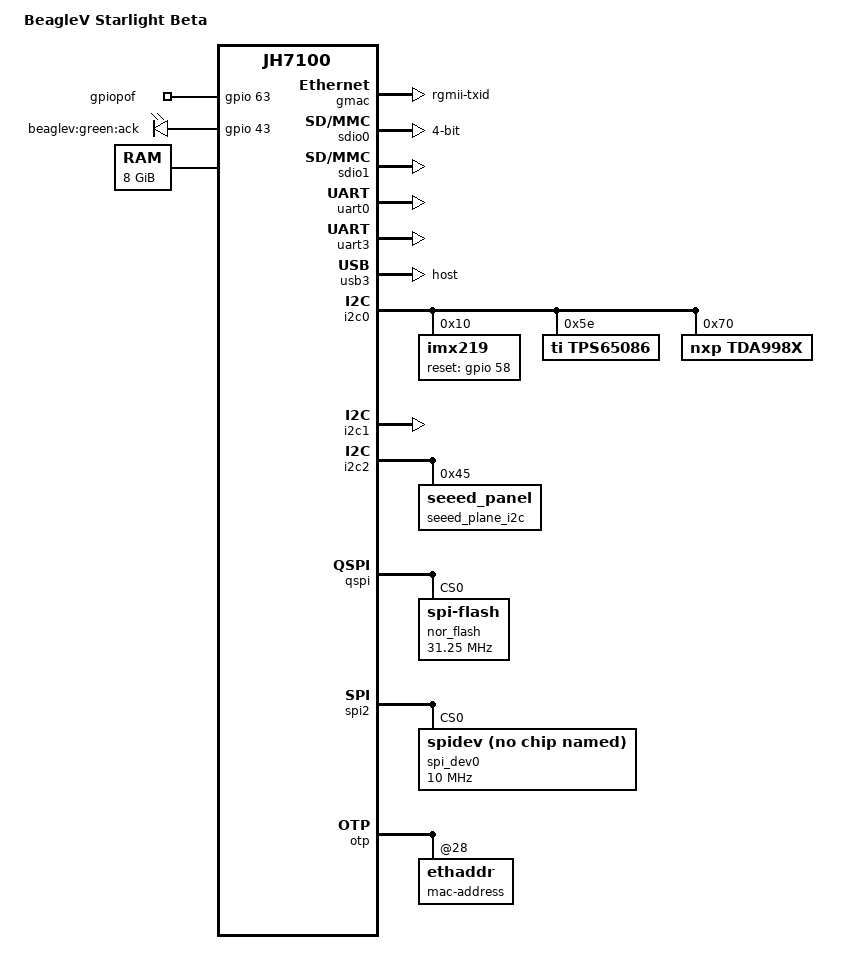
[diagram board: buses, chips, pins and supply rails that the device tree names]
// SPDX-License-Identifier: GPL-2.0

#include "jh7100.dtsi"
#include <dt-bindings/gpio/gpio.h>

/ {
	#address-cells = <2>;
	#size-cells = <2>;
	compatible = "beagle,beaglev-starlight-jh7100", "starfive,jh7100";
	model = "BeagleV Starlight Beta";
	barebox,disable-deep-probe;

	aliases {
		serial0 = &uart3;
		serial1 = &uart0;
	};

	chosen {
		stdout-path = "serial0:115200";
	};

	cpus {
		timebase-frequency = <6250000>;
	};

	gpiopof: gpio-poweroff {
		compatible = "gpio-poweroff";
		gpios = <&gpio 63 GPIO_ACTIVE_HIGH>;
	};

	leds {
		compatible = "gpio-leds";

		led-0 {
			label = "beaglev:green:ack";
			gpios = <&gpio 43 GPIO_ACTIVE_HIGH>;
		};
	};

	memory@80000000 {
		device_type = "memory";
		reg = <0x0 0x80000000 0x2 0x0>;
	};

	memory@3000000000 {
		device_type = "memory";
		reg = <0x30 0x0 0x0 0x0>;
	};
};

&gmac {
	pinctrl-names = "default";
	pinctrl-0 = <&pinctrl_rgmii>;
	phy-mode = "rgmii-txid";
	nvmem-cell-names = "mac-address";
	nvmem-cells = <&ethaddr>;
};

&gpio {
	pinctrl-names = "default";
	pinctrl-0 = <&pinctrl_gpio>;
};

&sdio0 {
	pinctrl-names = "default";
	pinctrl-0 = <&pinctrl_sdio0>;
	bus-width = <4>;
	cap-sd-highspeed;
	broken-cd;
	no-sdio;
	status = "okay";
};

&sdio1 {
	pinctrl-names = "default";
	pinctrl-0 = <&pinctrl_sdio1>;
	status = "okay";
};

&uart0 {
	pinctrl-names = "default";
	pinctrl-0 = <&pinctrl_uart0>;
	status = "okay";
};

&uart3 {
	status = "okay";
};

&usb3 {
	dr_mode = "host";
	status = "okay";
};

&i2c0 {
	pinctrl-names = "default";
	pinctrl-0 = <&pinctrl_i2c0>;
	status = "okay";

	imx219@10 {
		compatible = "imx219";
		reg = <0x10>;
		reset-gpio = <&gpio 58 0>;
	};

	tps65086@5e {
		compatible = "ti,tps65086";
		reg = <0x5e>;
		gpio-controller;
		#gpio-cells = <2>;
	};

	tda998x@70 {
		compatible = "nxp,tda998x";
		reg = <0x70>;
	};
};

&i2c1 {
	pinctrl-names = "default";
	pinctrl-0 = <&pinctrl_i2c1>;
	status = "okay";
};

&i2c2 {
	pinctrl-names = "default";
	pinctrl-0 = <&pinctrl_i2c2>;
	status = "okay";

	seeed_plane_i2c@45 {
		compatible = "seeed_panel";
		reg = <0x45>;
	};
};

&qspi {
	nor_flash: nor-flash@0 {
		compatible = "spi-flash";
		reg = <0>;
		spi-max-frequency = <31250000>;
		cdns,page-size = <256>;
		cdns,block-size = <16>;
		cdns,read-delay = <4>;
		cdns,tshsl-ns = <1>;
		cdns,tsd2d-ns = <1>;
		cdns,tchsh-ns = <1>;
		cdns,tslch-ns = <1>;
		spi-tx-bus-width = <1>;
		spi-rx-bus-width = <1>;
	};
};

&spi2 {
	pinctrl-names = "default";
	pinctrl-0 = <&pinctrl_spi2>;
	status = "okay";

	spi_dev0: spi@0 {
		compatible = "rohm,dh2228fv";
		spi-max-frequency = <10000000>;
		reg = <0>;
		status = "okay";
	};
};

&qspi {
	status = "okay";
};

&spi2 {
	status = "okay";
};

&otp {
	power-gpios = <&gpio 56 GPIO_ACTIVE_HIGH>;
	#address-cells = <1>;
	#size-cells = <1>;

	ethaddr: ethaddr@28 {
		reg = <0x28 6>;
		label = "mac-address";
	};
};

&gpio {
	pinctrl_uart0: uart0_pins {
		pinctrl-single,pins = <
			0x358 0x2a	/* GPIO40: uart0_pad_sin */
			0x194 0x1	/* GPIO40: doen_HIGH */
			0x198 0x7f	/* GPIO41: dout_uart0_pad_sout */
			0x19c 0x0	/* GPIO41: doen_LOW */
			0x1a0 0x7e	/* GPIO42: dout_uart0_pad_rtsn */
			0x1a4 0x0	/* GPIO42: doen_LOW */
			0x348 0x29	/* GPIO39: uart0_pad_ctsn */
			0x18c 0x1	/* GPIO39: doen_HIGH */
			0x16c 0x0	/* GPIO35: doen_LOW */
			0x168 0x1	/* GPIO35: dout_HIGH */
		>;
	};

	pinctrl_i2c0: i2c0_pins {
		pinctrl-single,pins = <
			0x240 0x0		/* GPIO62: dout_LOW */
			0x238 0x0		/* GPIO61: dout_LOW */
			0x244 0x80000008	/* GPIO62: doen_i2c0_pad_sck_oe
							   doen_reverse_(1) */
			0x23c 0x80000009	/* GPIO61: doen_i2c0_pad_sda_oe
							   doen_reverse_(1) */
			0x278 0x40		/* GPIO62: i2c0_pad_sck_in */
			0x27c 0x3f		/* GPIO61: i2c0_pad_sda_in */
		>;
	};

	pinctrl_i2c1: i2c1_pins {
		pinctrl-single,pins = <
			0x1c8 0x0		/* GPIO47: dout_LOW */
			0x1d0 0x0		/* GPIO48: dout_LOW */
			0x1cc 0x8000000a	/* GPIO47: doen_i2c1_pad_sck_oe
							   doen_reverse_(1) */
			0x1d4 0x8000000b	/* GPIO48: doen_i2c1_pad_sda_oe
							   doen_reverse_(1) */
			0x280 0x31		/* GPIO47: i2c1_pad_sck_in */
			0x284 0x32		/* GPIO48: i2c1_pad_sda_in */
		>;
	};

	pinctrl_i2c2: i2c2_pins {
		pinctrl-single,pins = <
			0x230 0x0		/* GPIO60: dout_LOW */
			0x228 0x0		/* GPIO59: dout_LOW */
			0x234 0x8000000c	/* GPIO60: doen_i2c2_pad_sck_oe
							   doen_reverse_(1) */
			0x22c 0x8000000d	/* GPIO59: doen_i2c2_pad_sda_oe
							   doen_reverse_(1) */
			0x288 0x3e		/* GPIO60: i2c2_pad_sck_in */
			0x28c 0x3d		/* GPIO59: i2c2_pad_sda_in */
		>;
	};

	pinctrl_spi2: spi2_pins {
		pinctrl-single,pins = <
			/* MISO */
			0xa8  0x6f	/* GPIO11: dout_spi2_pad_txd */
			0xac  0x0	/* GPIO11: doen_LOW */
			/* MOSI */
			0x320 0xe	/* GPIO12: spi2_pad_rxd */
			0xb4  0x1	/* GPIO12: doen_HIGH */
			/* SCLK */
			0xe0  0x6c	/* GPIO18: dout_spi2_pad_sck_out */
			0xe4  0x0	/* GPIO18: doen_LOW */
			/* CS */
			0xe8  0x6d	/* GPIO19: dout_spi2_pad_ss_0_n */
			0xec  0x0	/* GPIO19: doen_LOW */
		>;

	};

	pinctrl_sdio0: sdio0_pins {
		pinctrl-single,pins = <
			0x2b4 0x39		/* GPIO55: sdio0_pad_card_detect_n */
			0x20c 0x1		/* GPIO55: doen_HIGH */
			0x200 0x36		/* GPIO54: dout_sdio0_pad_cclk_out */
			0x204 0x0		/* GPIO54: doen_LOW */
			0x1fc 0x80000037	/* GPIO53: doen_sdio0_pad_ccmd_oe
							   doen_reverse_(1) */
			0x1f8 0x38		/* GPIO53: dout_sdio0_pad_ccmd_out */
			0x2bc 0x37		/* GPIO53: _sdio0_pad_ccmd_in */
			0x1dc 0x80000039	/* GPIO49: doen_sdio0_pad_cdata_oe_bit0
							   doen_reverse_(1) */
			0x1d8 0x41		/* GPIO49: dout_sdio0_pad_cdata_out_bit0 */
			0x2c0 0x33		/* GPIO49: sdio0_pad_cdata_in_bit0 */
			0x1e4 0x8000003a	/* GPIO50: doen_sdio0_pad_cdata_oe_bit1
							   doen_reverse_(1) */
			0x1e0 0x42		/* GPIO50: dout_sdio0_pad_cdata_out_bit1 */
			0x2c4 0x34		/* GPIO50: sdio0_pad_cdata_in_bit1 */
			0x1ec 0x8000003b	/* GPIO51: doen_sdio0_pad_cdata_oe_bit2
							   doen_reverse_(1) */
			0x1e8 0x43		/* GPIO51: dout_sdio0_pad_cdata_out_bit2 */
			0x2c8 0x35		/* GPIO51: sdio0_pad_cdata_in_bit2 */
			0x1f4 0x8000003c	/* GPIO52: doen_sdio0_pad_cdata_oe_bit3
							   doen_reverse_(1) */
			0x1f0 0x44		/* GPIO52: dout_sdio0_pad_cdata_out_bit3 */
			0x2cc 0x36		/* GPIO52: sdio0_pad_cdata_in_bit3(52) */
		>;
	};

	pinctrl_sdio1: sdio1_pins {
		pinctrl-single,pins = <
			0x158 0x4b		/* GPIO33: dout_sdio1_pad_cclk_out */
			0x15c 0x0		/* GPIO33: doen_LOW */
			0x13c 0x8000004c	/* GPIO29: doen_sdio1_pad_ccmd_oe
							   doen_reverse_(1) */
			0x138 0x4d		/* GPIO29: dout_sdio1_pad_ccmd_out */
			0x2e8 0x1f		/* GPIO29: sdio1_pad_ccmd_in */
			0x174 0x8000004e	/* GPIO36: doen_sdio1_pad_cdata_oe_bit0
							   doen_reverse_(1) */
			0x170 0x56		/* GPIO36: dout_sdio1_pad_cdata_out_bit0 */
			0x2ec 0x26		/* GPIO36: sdio1_pad_cdata_in_bit0 */
			0x144 0x8000004f	/* GPIO30: doen_sdio1_pad_cdata_oe_bit1
							   doen_reverse_(1) */
			0x140 0x57		/* GPIO30: dout_sdio1_pad_cdata_out_bit1 */
			0x2f0 0x20		/* GPIO30: sdio1_pad_cdata_in_bit1 */
			0x164 0x80000050	/* GPIO34: doen_sdio1_pad_cdata_oe_bit2
							   doen_reverse_(1) */
			0x160 0x58		/* GPIO34: dout_sdio1_pad_cdata_out_bit2 */
			0x2f4 0x24		/* GPIO34: sdio1_pad_cdata_in_bit2 */
			0x14c 0x80000051	/* GPIO31: doen_sdio1_pad_cdata_oe_bit3
							   doen_reverse_(1) */
			0x148 0x59		/* GPIO31: dout_sdio1_pad_cdata_out_bit3 */
			0x2f8 0x21		/* GPIO31: sdio1_pad_cdata_in_bit3 */
		>;
	};
};

&pinconf {
	pinctrl_rgmii: rgmii_pins {
		pinctrl-single,pins = <
			0x164	0xC30080
			0x168	0x30080

			0x16c	0x30003
			0x170	0x30003
			0x174	0x30003
			0x178	0x30003

			0x17c	0xC800003

			0x180	0x8000C0
			0x184	0xC000C0
			0x188	0xC000C0
			0x18c	0xC000C0
			0x190	0xC000C0
			0x194	0xC000C0
			0x198	0xC000C0
		>;
	};

	/* Force most pins to input. Taken from vendor's sys_funcshare_io_input_en */
	pinctrl_gpio: gpio_pins {
		pinctrl-single,pins = <
			0x80 0xc000c0 /* gpio0     */
			0x90 0xc000c0 /* gpio8-9   */
			0x94 0xc000c0 /* gpio10-11 */
			0x98 0xc000c0 /* gpio12    */
			0xa0 0xc000c0 /* gpio16-17 */
			0xa4 0xc000c0 /* gpio18-19 */
			0xa8 0xc000c0 /* gpio20-21 */
			0xac 0xc000c0 /* gpio22-23 */
			0xb0 0xc000c0 /* gpio24-25 */
			0xb4 0xc000c0 /* gpio26-27 */
			0xb8 0xc000c0 /* gpio28-29 */
			0xbc 0xc000c0 /* gpio30-31 */
			0xc0 0xc000c0 /* gpio32-33 */
			0xc4 0xc000c0 /* gpio34-35 */
			0xcc 0xc000c0 /* gpio38-39 */
			0xd0 0xc000c0 /* gpio40-41 */
			0xd4 0xc000c0 /* gpio42-43 */
			0xd8 0xc000c0 /* gpio44-45 */
			0xdc 0xc000c0 /* gpio46-47 */
			0xe0 0xc000c0 /* gpio48-49 */
			0xe4 0xc000c0 /* gpio50-51 */
			0xe8 0xc000c0 /* gpio52-53 */
			0xec 0xc000c0 /* gpio54-55 */
			0xf0 0xc000c0 /* gpio56-57 */
			0xf4 0xc000c0 /* gpio58-59 */
			0xf8 0xc000c0 /* gpio60-61 */
			0xfc 0xc000c0 /* gpio62-63 */
		>;
	};
};
